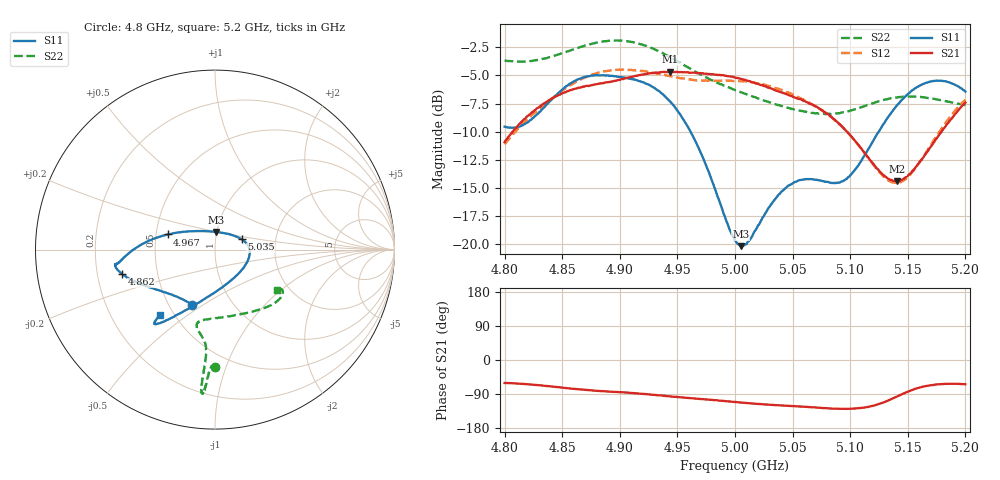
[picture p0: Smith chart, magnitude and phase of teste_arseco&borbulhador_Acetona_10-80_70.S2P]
! Network Analyzer HP8722D
! Hewlett-Packard
! Data name: Linha & Wilkinson
! Saver's name: Rodrigo Anjos
! Comments: Teste da utilização de aquisição
! continua pelo VNA HP8722D
! Time and date: 17/4/2025 14:56
!  Frequency  S11  S21  S12  S22
# HZ  S  MA R 50
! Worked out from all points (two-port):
!   401 points, 4.8 GHz to 5.2 GHz, reference 50 ohm
!   highest |S21| = -4.67 dB at 4.944 GHz (marker M1); lowest = -14.4 dB at 5.141 GHz (marker M2)
!   |S21| within 3 dB of the highest: 4.832 GHz to 5.068 GHz (236.7 MHz wide, 4.78 % of centre); 5.197628 GHz to end of sweep
!   lowest |S11| = -20.2 dB at 5.005 GHz (marker M3), VSWR 1.22, Z = 49.6 + j9.8 ohm
!   |S11| at or under -10 dB: 4.961 GHz to 5.125 GHz (163.3 MHz wide, 3.24 % of centre)
!   |S22| runs from -8.4 to -1.9 dB; largest |S21 - S12| = 0.88
!   S11 on the Smith chart (normalised r, x): 4.8 GHz: 0.65, -0.45; 4.862 GHz: 0.31, -0.12; 4.967 GHz: 0.58, +0.10; 5.035 GHz: 1.34, +0.16; 5.2 GHz: 0.42, -0.40
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4.8e9  0.3329 -113.0  0.2843 -60.6  0.2785 -174.9  0.6561 -89.8
4.819e9  0.3459 -132.8  0.3674 -63.8  0.3551 -173.2  0.65 -91.4
4.862e9  0.5351 -165.2  0.4917 -76.6  0.5266 -176.4  0.7414 -93.7
4.867e9  0.5482 -167.2  0.4992 -78.3  0.5429 -177.4  0.7564 -93.9
4.902e9  0.5517 -171.9  0.5424 -85.1  0.5975 175.4  0.8028 -95.3
4.934e9  0.4797 -177.8  0.5798 -93.4  0.5722 172.2  0.7198 -95.6
4.944e9  0.429 177.7  0.5842 -96.1  0.5579 172.1  0.6765 -95.4
4.967e9  0.2772 162.3  0.5759 -102.1  0.5345 174.1  0.5794 -94.8
5e9  0.104 103.8  0.5509 -110.7  0.533 176.4  0.4843 -99.0
5.005e9  0.09796 86.7  0.5435 -112.3  0.5307 176.4  0.4731 -100.2
5.012e9  0.1031 63.5  0.5313 -114.1  0.5251 176.1  0.4599 -101.6
5.035e9  0.159 21.5  0.4832 -119.1  0.4939 174.9  0.4192 -103.4
5.05e9  0.1864 5.9  0.4525 -121.7  0.4624 174.3  0.3991 -99.8
5.067e9  0.1945 -12.2  0.418 -124.8  0.4188 173.8  0.3829 -91.1
5.087e9  0.1866 -44.2  0.3563 -128.5  0.3535 173.8  0.381 -76.0
5.097e9  0.1951 -64.9  0.3171 -128.9  0.3163 174.5  0.3885 -67.5
5.134e9  0.3737 -115.7  0.1941 -105.7  0.1908 -158.5  0.444 -42.9
5.141e9  0.4164 -119.8  0.1905 -95.8  0.1874 -147.5  0.4493 -39.9
5.153e9  0.4791 -124.7  0.2083 -79.9  0.2063 -129.0  0.453 -35.6
5.17e9  0.5287 -128.3  0.271 -66.4  0.276 -112.6  0.4449 -31.8
5.184e9  0.5272 -129.7  0.3416 -62.9  0.3529 -107.0  0.4313 -30.8
5.2e9  0.4769 -130.1  0.4258 -64.1  0.4381 -106.1  0.4143 -33.1
